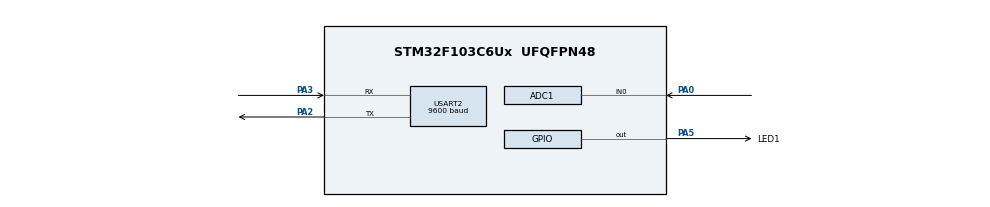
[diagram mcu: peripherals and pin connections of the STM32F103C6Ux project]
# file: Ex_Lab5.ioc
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ADC1.Channel-0\#ChannelRegularConversion=ADC_CHANNEL_0
ADC1.ContinuousConvMode=ENABLE
ADC1.NbrOfConversionFlag=1
ADC1.Rank-0\#ChannelRegularConversion=1
ADC1.SamplingTime-0\#ChannelRegularConversion=ADC_SAMPLETIME_1CYCLE_5
ADC1.master=1
Mcu.Family=STM32F1
Mcu.Name=STM32F103C6Ux
Mcu.Package=UFQFPN48
NVIC.PriorityGroup=NVIC_PRIORITYGROUP_4
NVIC.TIM2_IRQn=true\:0\:0\:false\:false\:true\:true\:true
NVIC.USART2_IRQn=true\:0\:0\:false\:false\:true\:true\:true
PA0-WKUP.Signal=ADCx_IN0
PA2.Mode=Asynchronous
PA2.Signal=USART2_TX
PA3.Mode=Asynchronous
PA3.Signal=USART2_RX
PA5.GPIO_Label=LED1
PA5.Signal=GPIO_Output
ProjectManager.HeapSize=0x200
ProjectManager.StackSize=0x400
ProjectManager.TargetToolchain=STM32CubeIDE
RCC.APB1Freq_Value=8000000
RCC.APB2Freq_Value=8000000
SH.ADCx_IN0.0=ADC1_IN0,IN0
TIM2.Period=9
TIM2.Prescaler=7999
USART2.BaudRate=9600
USART2.VirtualMode=VM_ASYNC
VP_SYS_VS_ND.Mode=No_Debug
VP_TIM2_VS_ClockSourceINT.Mode=Internal
board=custom

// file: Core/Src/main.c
/* USER CODE BEGIN Header */
/**
  ******************************************************************************
  * @file           : main.c
  * @brief          : Main program body
  ******************************************************************************
  * @attention
  *
  * <h2><center>&copy; Copyright (c) 2024 STMicroelectronics.
  * All rights reserved.</center></h2>
  *
  * This software component is licensed by ST under BSD 3-Clause license,
  * the "License"; You may not use this file except in compliance with the
  * License. You may obtain a copy of the License at:
  *                        opensource.org/licenses/BSD-3-Clause
  *
  ******************************************************************************
  */
/* USER CODE END Header */
#include "main.h"

/* USER CODE BEGIN Includes */
#include "fsm_command_parser.h"
#include "fsm_uart_communication.h"
#include "global.h"
#include "timer.h"
/* USER CODE END Includes */

ADC_HandleTypeDef hadc1;

TIM_HandleTypeDef htim2;

UART_HandleTypeDef huart2;

void SystemClock_Config(void);
static void MX_GPIO_Init(void);
static void MX_ADC1_Init(void);
static void MX_USART2_UART_Init(void);
static void MX_TIM2_Init(void);

/* USER CODE BEGIN 0 */
void HAL_UART_RxCpltCallback(UART_HandleTypeDef *huart){
	if(huart->Instance == USART2){
		HAL_UART_Receive_IT(&huart2, &temp, 1);
		buffer[index_buffer++] = temp;
		if(index_buffer == 30) index_buffer = 0;
		buffer_flag = 1;
	}
}

/* USER CODE END 0 */

int main(void)
{

  /* MCU Configuration--------------------------------------------------------*/

  /* Reset of all peripherals, Initializes the Flash interface and the Systick. */
  HAL_Init();

  /* Configure the system clock */
  SystemClock_Config();

  /* Initialize all configured peripherals */
  MX_GPIO_Init();
  MX_ADC1_Init();
  MX_USART2_UART_Init();
  MX_TIM2_Init();
  /* USER CODE BEGIN 2 */
  HAL_UART_Receive_IT(&huart2, &temp, 1);
  HAL_ADC_Start(&hadc1);
  HAL_TIM_Base_Start_IT(&htim2);
  /* USER CODE END 2 */

  /* Infinite loop */
  /* USER CODE BEGIN WHILE */
  status = INIT;
  state = RX_COM;
  while (1)
  {
	  if(buffer_flag == 1){
		  command_parser_fsm();
		  buffer_flag = 0;
	  }
	  uart_communication_fsm();
    /* USER CODE END WHILE */

  }
}

void SystemClock_Config(void)
{
  RCC_OscInitTypeDef RCC_OscInitStruct = {0};
  RCC_ClkInitTypeDef RCC_ClkInitStruct = {0};
  RCC_PeriphCLKInitTypeDef PeriphClkInit = {0};

  /** Initializes the RCC Oscillators according to the specified parameters
  * in the RCC_OscInitTypeDef structure.
  */
  RCC_OscInitStruct.OscillatorType = RCC_OSCILLATORTYPE_HSI;
  RCC_OscInitStruct.HSIState = RCC_HSI_ON;
  RCC_OscInitStruct.HSICalibrationValue = RCC_HSICALIBRATION_DEFAULT;
  RCC_OscInitStruct.PLL.PLLState = RCC_PLL_NONE;
  if (HAL_RCC_OscConfig(&RCC_OscInitStruct) != HAL_OK)
  {
    Error_Handler();
  }
  /** Initializes the CPU, AHB and APB buses clocks
  */
  RCC_ClkInitStruct.ClockType = RCC_CLOCKTYPE_HCLK|RCC_CLOCKTYPE_SYSCLK
                              |RCC_CLOCKTYPE_PCLK1|RCC_CLOCKTYPE_PCLK2;
  RCC_ClkInitStruct.SYSCLKSource = RCC_SYSCLKSOURCE_HSI;
  RCC_ClkInitStruct.AHBCLKDivider = RCC_SYSCLK_DIV1;
  RCC_ClkInitStruct.APB1CLKDivider = RCC_HCLK_DIV1;
  RCC_ClkInitStruct.APB2CLKDivider = RCC_HCLK_DIV1;

  if (HAL_RCC_ClockConfig(&RCC_ClkInitStruct, FLASH_LATENCY_0) != HAL_OK)
  {
    Error_Handler();
  }
  PeriphClkInit.PeriphClockSelection = RCC_PERIPHCLK_ADC;
  PeriphClkInit.AdcClockSelection = RCC_ADCPCLK2_DIV2;
  if (HAL_RCCEx_PeriphCLKConfig(&PeriphClkInit) != HAL_OK)
  {
    Error_Handler();
  }
}

static void MX_ADC1_Init(void)
{

  ADC_ChannelConfTypeDef sConfig = {0};

  /** Common config
  */
  hadc1.Instance = ADC1;
  hadc1.Init.ScanConvMode = ADC_SCAN_DISABLE;
  hadc1.Init.ContinuousConvMode = ENABLE;
  hadc1.Init.DiscontinuousConvMode = DISABLE;
  hadc1.Init.ExternalTrigConv = ADC_SOFTWARE_START;
  hadc1.Init.DataAlign = ADC_DATAALIGN_RIGHT;
  hadc1.Init.NbrOfConversion = 1;
  if (HAL_ADC_Init(&hadc1) != HAL_OK)
  {
    Error_Handler();
  }
  /** Configure Regular Channel
  */
  sConfig.Channel = ADC_CHANNEL_0;
  sConfig.Rank = ADC_REGULAR_RANK_1;
  sConfig.SamplingTime = ADC_SAMPLETIME_1CYCLE_5;
  if (HAL_ADC_ConfigChannel(&hadc1, &sConfig) != HAL_OK)
  {
    Error_Handler();
  }

}

static void MX_TIM2_Init(void)
{

  TIM_ClockConfigTypeDef sClockSourceConfig = {0};
  TIM_MasterConfigTypeDef sMasterConfig = {0};

  htim2.Instance = TIM2;
  htim2.Init.Prescaler = 7999;
  htim2.Init.CounterMode = TIM_COUNTERMODE_UP;
  htim2.Init.Period = 9;
  htim2.Init.ClockDivision = TIM_CLOCKDIVISION_DIV1;
  htim2.Init.AutoReloadPreload = TIM_AUTORELOAD_PRELOAD_DISABLE;
  if (HAL_TIM_Base_Init(&htim2) != HAL_OK)
  {
    Error_Handler();
  }
  sClockSourceConfig.ClockSource = TIM_CLOCKSOURCE_INTERNAL;
  if (HAL_TIM_ConfigClockSource(&htim2, &sClockSourceConfig) != HAL_OK)
  {
    Error_Handler();
  }
  sMasterConfig.MasterOutputTrigger = TIM_TRGO_RESET;
  sMasterConfig.MasterSlaveMode = TIM_MASTERSLAVEMODE_DISABLE;
  if (HAL_TIMEx_MasterConfigSynchronization(&htim2, &sMasterConfig) != HAL_OK)
  {
    Error_Handler();
  }

}

static void MX_USART2_UART_Init(void)
{

  huart2.Instance = USART2;
  huart2.Init.BaudRate = 9600;
  huart2.Init.WordLength = UART_WORDLENGTH_8B;
  huart2.Init.StopBits = UART_STOPBITS_1;
  huart2.Init.Parity = UART_PARITY_NONE;
  huart2.Init.Mode = UART_MODE_TX_RX;
  huart2.Init.HwFlowCtl = UART_HWCONTROL_NONE;
  huart2.Init.OverSampling = UART_OVERSAMPLING_16;
  if (HAL_UART_Init(&huart2) != HAL_OK)
  {
    Error_Handler();
  }

}

static void MX_GPIO_Init(void)
{
  GPIO_InitTypeDef GPIO_InitStruct = {0};

  /* GPIO Ports Clock Enable */
  __HAL_RCC_GPIOA_CLK_ENABLE();

  /*Configure GPIO pin Output Level */
  HAL_GPIO_WritePin(LED1_GPIO_Port, LED1_Pin, GPIO_PIN_RESET);

  /*Configure GPIO pin : LED1_Pin */
  GPIO_InitStruct.Pin = LED1_Pin;
  GPIO_InitStruct.Mode = GPIO_MODE_OUTPUT_PP;
  GPIO_InitStruct.Pull = GPIO_NOPULL;
  GPIO_InitStruct.Speed = GPIO_SPEED_FREQ_LOW;
  HAL_GPIO_Init(LED1_GPIO_Port, &GPIO_InitStruct);

}

/* USER CODE BEGIN 4 */
void HAL_TIM_PeriodElapsedCallback(TIM_HandleTypeDef *htim){
	if(htim->Instance == TIM2){
		timerRun();
	}
}

/* USER CODE END 4 */

void Error_Handler(void)
{
  __disable_irq();
  while (1)
  {
  }
}

/************************ (C) COPYRIGHT STMicroelectronics *****END OF FILE****/
